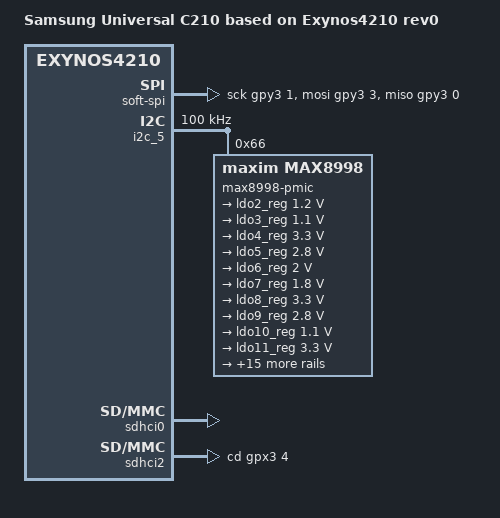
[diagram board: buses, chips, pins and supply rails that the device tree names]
// SPDX-License-Identifier: GPL-2.0+
/*
 * Samsung's Exynos4210 based Universal C210 board device tree source
 *
 * Copyright (c) 2014 Samsung Electronics Co., Ltd.
 *		http://www.samsung.com
 */

/dts-v1/;
#include "exynos4210.dtsi"

/ {
	model = "Samsung Universal C210 based on Exynos4210 rev0";
	compatible = "samsung,universal_c210", "samsung,exynos4210";

	aliases {
		serial0 = "/serial@13800000";
		console = "/serial@13820000";
	};

	soft-spi {
		compatible = "spi-gpio";
		cs-gpios = <&gpy4 3 0>;
		gpio-sck = <&gpy3 1 0>;
		gpio-mosi = <&gpy3 3 0>;
		gpio-miso = <&gpy3 0 0>;
		spi-delay-us = <1>;
		cs@0 {
		};
	};

	fimd@11c00000 {
		compatible = "samsung,exynos-fimd";
		reg = <0x11c00000 0xa4>;

		samsung,vl-freq = <60>;
		samsung,vl-col = <480>;
		samsung,vl-row = <800>;
		samsung,vl-width = <480>;
		samsung,vl-height = <800>;

		samsung,vl-clkp = <0>;
		samsung,vl-oep = <0>;
		samsung,vl-hsp = <1>;
		samsung,vl-vsp = <1>;
		samsung,vl-dp = <1>;
		samsung,vl-bpix = <4>;

		samsung,vl-hspw = <2>;
		samsung,vl-hbpd = <16>;
		samsung,vl-hfpd = <16>;
		samsung,vl-vspw = <2>;
		samsung,vl-vbpd = <8>;
		samsung,vl-vfpd = <8>;
		samsung,vl-cmd-allow-len = <0xf>;

		samsung,pclk_name = <1>;
		samsung,sclk_div = <1>;

		samsung,winid = <0>;
		samsung,power-on-delay = <10000>;
		samsung,interface-mode = <1>;
		samsung,mipi-enabled = <0>;
		samsung,dp-enabled;
		samsung,dual-lcd-enabled;

		samsung,logo-on = <1>;
		samsung,resolution = <0>;
		samsung,rgb-mode = <0>;
	};
};

&i2c_5 {
	clock-frequency = <100000>;
	status = "okay";

	max8998-pmic@66 {
		compatible = "maxim,max8998";
		reg = <0x66 0 0>;
		voltage-regulators {
			ldo2_reg: LDO2 {
				regulator-name = "VALIVE_1.2V";
				regulator-min-microvolt = <1200000>;
				regulator-max-microvolt = <1200000>;
				regulator-always-on;
			};

			ldo3_reg: LDO3 {
				regulator-name = "VUSB+MIPI_1.1V";
				regulator-min-microvolt = <1100000>;
				regulator-max-microvolt = <1100000>;
				regulator-always-on;
			};

			ldo4_reg: LDO4 {
				regulator-name = "VADC_3.3V";
				regulator-min-microvolt = <3300000>;
				regulator-max-microvolt = <3300000>;
			};

			ldo5_reg: LDO5 {
				regulator-name = "VTF_2.8V";
				regulator-min-microvolt = <2800000>;
				regulator-max-microvolt = <2800000>;
			};

			ldo6_reg: LDO6 {
				regulator-name = "LDO6";
				regulator-min-microvolt = <2000000>;
				regulator-max-microvolt = <2000000>;
			};

			ldo7_reg: LDO7 {
				regulator-name = "VLCD+VMIPI_1.8V";
				regulator-min-microvolt = <1800000>;
				regulator-max-microvolt = <1800000>;
			};

			ldo8_reg: LDO8 {
				regulator-name = "VUSB+VDAC_3.3V";
				regulator-min-microvolt = <3300000>;
				regulator-max-microvolt = <3300000>;
				regulator-always-on;
			};

			ldo9_reg: LDO9 {
				regulator-name = "VCC_2.8V";
				regulator-min-microvolt = <2800000>;
				regulator-max-microvolt = <2800000>;
				regulator-always-on;
			};

			ldo10_reg: LDO10 {
				regulator-name = "VPLL_1.1V";
				regulator-min-microvolt = <1100000>;
				regulator-max-microvolt = <1100000>;
				regulator-boot-on;
				regulator-always-on;
			};

			ldo11_reg: LDO11 {
				regulator-name = "CAM_AF_3.3V";
				regulator-min-microvolt = <3300000>;
				regulator-max-microvolt = <3300000>;
			};

			ldo12_reg: LDO12 {
				regulator-name = "PS_2.8V";
				regulator-min-microvolt = <2800000>;
				regulator-max-microvolt = <2800000>;
			};

			ldo13_reg: LDO13 {
				regulator-name = "VHIC_1.2V";
				regulator-min-microvolt = <1200000>;
				regulator-max-microvolt = <1200000>;
			};

			ldo14_reg: LDO14 {
				regulator-name = "CAM_I_HOST_1.8V";
				regulator-min-microvolt = <1800000>;
				regulator-max-microvolt = <1800000>;
			};

			ldo15_reg: LDO15 {
				regulator-name = "CAM_S_DIG+FM33_CORE_1.2V";
				regulator-min-microvolt = <1200000>;
				regulator-max-microvolt = <1200000>;
			};

			ldo16_reg: LDO16 {
				regulator-name = "CAM_S_ANA_2.8V";
				regulator-min-microvolt = <2800000>;
				regulator-max-microvolt = <2800000>;
			};

			ldo17_reg: LDO17 {
				regulator-name = "VCC_3.0V_LCD";
				regulator-min-microvolt = <3000000>;
				regulator-max-microvolt = <3000000>;
			};

			buck1_reg: BUCK1 {
				regulator-name = "VINT_1.1V";
				regulator-min-microvolt = <750000>;
				regulator-max-microvolt = <1500000>;
				regulator-boot-on;
				regulator-always-on;
			};

			buck2_reg: BUCK2 {
				regulator-name = "VG3D_1.1V";
				regulator-min-microvolt = <750000>;
				regulator-max-microvolt = <1500000>;
				regulator-boot-on;
			};

			buck3_reg: BUCK3 {
				regulator-name = "VCC_1.8V";
				regulator-min-microvolt = <1800000>;
				regulator-max-microvolt = <1800000>;
				regulator-always-on;
			};

			buck4_reg: BUCK4 {
				regulator-name = "VMEM_1.2V";
				regulator-min-microvolt = <1200000>;
				regulator-max-microvolt = <1200000>;
				regulator-always-on;
			};

			ap32khz_reg: EN32KHz-AP {
				regulator-name = "32KHz AP";
				regulator-always-on;
			};

			cp32khz_reg: EN32KHz-CP {
				regulator-name = "32KHz CP";
			};

			vichg_reg: ENVICHG {
				regulator-name = "VICHG";
			};

			safeout1_reg: ESAFEOUT1 {
				regulator-name = "SAFEOUT1";
			};

			safeout2_reg: ESAFEOUT2 {
				regulator-name = "SAFEOUT2";
				regulator-boot-on;
			};
		};
	};
};

&sdhci0 {
	samsung,bus-width = <8>;
	samsung,timing = <1 3 3>;
	pwr-gpios = <&gpk0 2 0>;
	status = "okay";
};

&sdhci2 {
	samsung,bus-width = <4>;
	samsung,timing = <1 2 3>;
	cd-gpios = <&gpx3 4 0>;
	status = "okay";
};
